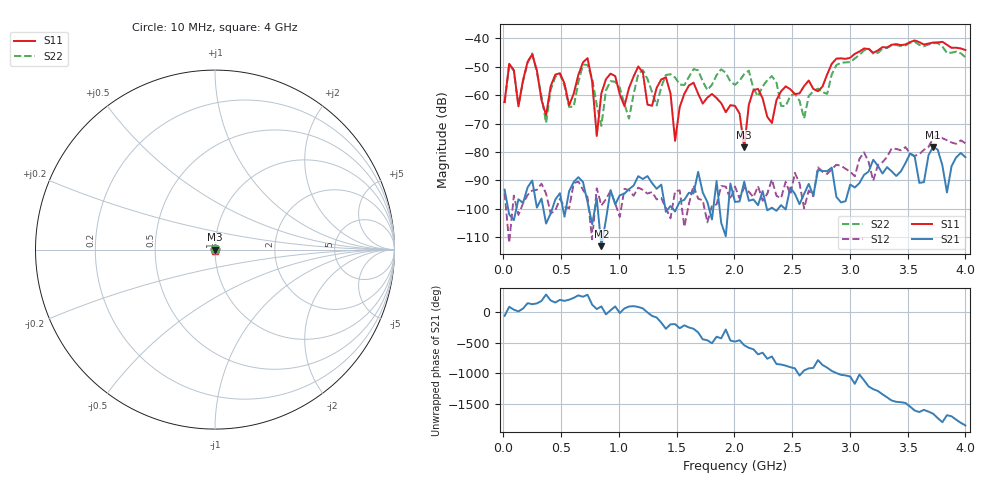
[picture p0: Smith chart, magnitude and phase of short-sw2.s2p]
! PocketVna 1.81  pocketvna.com
! Live measurements ((Reflection-S11, Transmission-S21, Transmission-S12, Reflection-S22) Linear 10000000-4000000000/101 non-calibrated)
# GHz S MA R 50
! GHz  |S11|  <S11  |S21|  <S21  |S12|  <S12  |S22|  <S22
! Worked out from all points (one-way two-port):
!   101 points, 10 MHz to 4 GHz, reference 50 ohm
!   highest |S21| = -78.19 dB at 3.721 GHz (marker M1); lowest = -113.1 dB at 847.9 MHz (marker M2)
!   lowest |S11| = -78.4 dB at 2.085 GHz (marker M3), VSWR 1.00, Z = 50 + j0.00403 ohm
!   |S11| at or under -10 dB: start of sweep to end of sweep
!   |S22| runs from -70.8 to -41.3 dB; largest |S21 - S12| = 0.00026
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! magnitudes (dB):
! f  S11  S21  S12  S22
! 10 MHz  -62.5  -93.2  -94.4  -62.7
! 249.4 MHz  -45.7  -90.0  -93.5  -45.4
! 369.1 MHz  -67.1  -105.1  -94.6  -69.8
! 448.9 MHz  -52.8  -96.7  -100.6  -53.6
! 688.3 MHz  -48.5  -90.5  -93.2  -49.2
! 808 MHz  -74.4  -96.3  -92.7  -63.5
! 847.9 MHz  -59.4  -113.1  -98.8  -70.8
! 927.7 MHz  -52.5  -93.4  -93.7  -55.1
! 1.087 GHz  -57.5  -93.1  -93.3  -68.3
! 1.167 GHz  -49.9  -88.5  -92.5  -52.6
! 1.247 GHz  -63.3  -88.4  -94.6  -54.3
! 1.367 GHz  -54.5  -91.4  -96.2  -57.1
! 1.486 GHz  -76.1  -100.9  -93.8  -53.8
! 1.646 GHz  -55.6  -94.5  -91.8  -50.9
! 2.005 GHz  -63.8  -97.5  -92.1  -56.4
! 2.085 GHz  -78.4  -90.4  -92.4  -52.6
! 2.165 GHz  -58.3  -96.7  -95.9  -57.7
! 2.324 GHz  -69.8  -99.6  -89.6  -53.3
! 2.683 GHz  -57.8  -95.3  -95.6  -58.7
! 3.362 GHz  -42.3  -86.8  -78.7  -42.5
! 3.721 GHz  -41.6  -78.2  -75.2  -41.7
! 4 GHz  -44.2  -81.8  -76.9  -46.7
